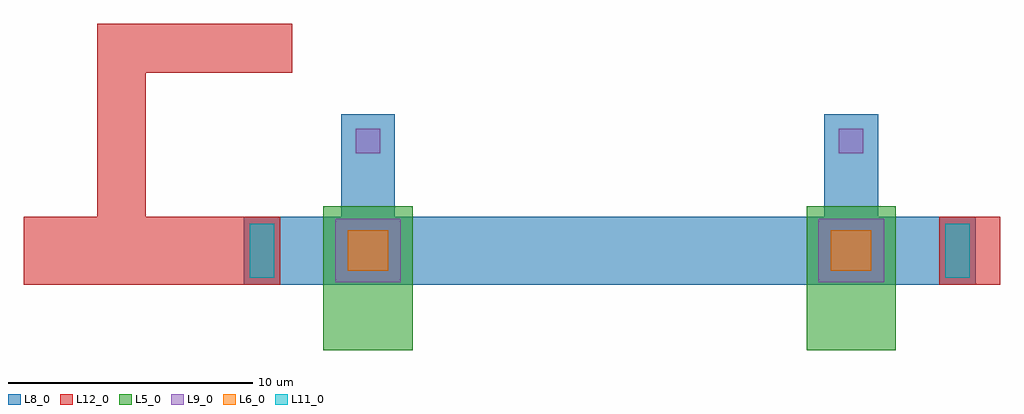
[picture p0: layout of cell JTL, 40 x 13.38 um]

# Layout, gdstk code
import gdstk
lib = gdstk.Library(unit=1e-6, precision=1e-09)
def R(c, l, rs):  # rectangles x0, y0, x1, y1
    for r in rs: c.add(gdstk.rectangle(r[:2], r[2:], *l))
def P(c, l, *ps):  # polygons
    for p in ps: c.add(gdstk.Polygon(p, *l))
L5_0 = (5, 0)
L6_0 = (6, 0)
L8_0 = (8, 0)
L9_0 = (9, 0)
L11_0 = (11, 0)
L12_0 = (12, 0)

jtl = lib.new_cell('JTL')
R(jtl, L5_0, [(8.27,15.92,11.93,21.83), (28.07,15.92,31.73,21.83)])
R(jtl, L6_0, [(9.27,19.17,10.93,20.83), (29.07,19.17,30.73,20.83)])
R(jtl, L8_0, [(5,18.6,35,21.4), (9,21.35,11.2,25.59), (28.8,21.35,31,25.6)])
R(jtl, L9_0, [(8.75,18.7,11.45,21.3), (28.55,18.7,31.25,21.3), (9.6,24,10.6,25), (29.4,24,30.4,25)])
R(jtl, L11_0, [(5.25,18.9,6.25,21.1), (33.75,18.9,34.75,21.1)])
R(jtl, L12_0, [(33.5,18.6,36,21.4)])
P(jtl, L12_0, [(-4,21.4),(-4,18.6),(6.5,18.6),(6.5,21.4),(1,21.4),(1,27.3),(7,27.3),(7,29.3),(-1,29.3),(-1,21.4)])

lib.write_gds('JTL.gds')
